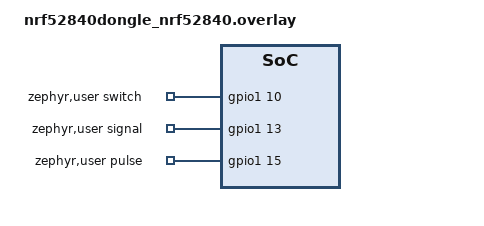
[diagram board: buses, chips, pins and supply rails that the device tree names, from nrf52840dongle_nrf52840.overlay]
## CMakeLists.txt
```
#
# Copyright (c) 2019 Nordic Semiconductor ASA
#
# SPDX-License-Identifier: LicenseRef-BSD-5-Clause-Nordic
#
cmake_minimum_required(VERSION 3.8.2)

#Board selection
#set(BOARD nrf52840dk_nrf52840)
#set(BOARD nrf5340pdk_nrf5340_cpunet)
#set(BOARD nrf5340pdk_nrf5340_cpuapp)
set(BOARD nrf52840dongle_nrf52840)
#set(BOARD nrf52840dk_nrf52811)
#Board selection outside zephyr
#set(BOARD_ROOT ./board)

#Toolchain selection
#set(TOOLCHAIN C:/gnuarmemb)

#Zephyr selection
#set(ZEPHYR_BASE L:/Github/ncs/zephyr)
#set(ZEPHYR_BASE L:/Github/ncs-workspace-1.6.1/zephyr)

find_package(Zephyr REQUIRED HINTS $ENV{ZEPHYR_BASE})
project(NONE)

# Include all files in folder src
FILE(GLOB app_sources_c src/*.c)
FILE(GLOB app_sources_cpp src/*.cpp)


target_sources(app PRIVATE
	${app_sources_c}
	${app_sources_cpp})
target_include_directories(app PRIVATE include)
```

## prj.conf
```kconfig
#
# Copyright (c) 2019 Nordic Semiconductor ASA
#
# SPDX-License-Identifier: LicenseRef-BSD-5-Clause-Nordic
#
CONFIG_NCS_SAMPLES_DEFAULTS=y

# General configuration
CONFIG_SYSTEM_WORKQUEUE_STACK_SIZE=2048
CONFIG_FLASH=y
CONFIG_FLASH_MAP=y
CONFIG_NVS=y
CONFIG_SETTINGS=y
CONFIG_HWINFO=y

# Bluetooth configuration
CONFIG_BT=y
CONFIG_BT_COMPANY_ID=0x0059
CONFIG_BT_DEVICE_NAME="Lampe Schlafzimmer"
CONFIG_BT_L2CAP_TX_MTU=69
CONFIG_BT_L2CAP_TX_BUF_COUNT=8
CONFIG_BT_OBSERVER=y
CONFIG_BT_PERIPHERAL=y
CONFIG_BT_SETTINGS=y
CONFIG_BT_TINYCRYPT_ECC=y
CONFIG_BT_MAX_CONN=3
CONFIG_BT_SMP=y

# Disable unused Bluetooth features
CONFIG_BT_CTLR_DUP_FILTER_LEN=0
CONFIG_BT_CTLR_LE_ENC=n
CONFIG_BT_DATA_LEN_UPDATE=n
CONFIG_BT_PHY_UPDATE=n
CONFIG_BT_CTLR_CHAN_SEL_2=n
CONFIG_BT_CTLR_MIN_USED_CHAN=n
CONFIG_BT_CTLR_PRIVACY=n

# Bluetooth Mesh configuration standrad node configuration
CONFIG_BT_MESH=y
CONFIG_BT_MESH_ADV_BUF_COUNT=13
CONFIG_BT_MESH_TX_SEG_MAX=10
CONFIG_BT_MESH_PB_GATT=y
# Bluetooth Mesh Node Features Normal
CONFIG_BT_MESH_RELAY=y
CONFIG_BT_MESH_FRIEND=y
CONFIG_BT_MESH_FRIEND_LPN_COUNT=10
CONFIG_BT_MESH_GATT_PROXY=y
# Bluetooth Mesh Node Features LPN
#CONFIG_BT_MESH_RELAY=n
#CONFIG_BT_MESH_FRIEND=n
#CONFIG_BT_MESH_LOW_POWER=y
#CONFIG_BT_MESH_LPN_AUTO=y
#CONFIG_BT_MESH_LPN_AUTO_TIMEOUT=5
#600 = 60s
#CONFIG_BT_MESH_LPN_POLL_TIMEOUT=100
#CONFIG_BT_MESH_GATT_PROXY=n
# Power Managment Device -> Needed for LPN
#CONFIG_PM=y
#CONFIG_PM_DEVICE=y
#CONFIG_PM_DEVICE_RUNTIME=y
#CONFIG_PM_CPU_OPS=y
#CONFIG_SERIAL=n

# Bluetooth Mesh models
CONFIG_BT_MESH_ONOFF_SRV=y
CONFIG_BT_MESH_ONOFF_CLI=y

# GPIO
CONFIG_GPIO=y

#For Reset
CONFIG_REBOOT=y

#For nRF52 Dongle (enable if flashed over USB / Disable if FLashed over SWD)
CONFIG_BOARD_HAS_NRF5_BOOTLOADER=y

#For Long Range Bluetooth Mesh
CONFIG_BT_CTLR_TX_PWR_PLUS_8=y
CONFIG_BT_MESH_ADV_EXT=y
```

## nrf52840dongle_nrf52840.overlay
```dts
#include <dt-bindings/gpio/gpio.h>

/ {
     zephyr,user {
          handle = <&gpio0>;
          handles = <&gpio0>, <&gpio1>;
          switch-gpios = <&gpio1 10 GPIO_ACTIVE_HIGH>;
          signal-gpios = <&gpio1 13 GPIO_ACTIVE_HIGH>;
          pulse-gpios = <&gpio1 15 GPIO_ACTIVE_HIGH>;
     };
};

&spi1 {
     status = "disabled";
};
```

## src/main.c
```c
#include <zephyr.h>
#include <sys/reboot.h>
#include <sys/util.h>
#include <device.h>
#include <drivers/gpio.h>
#include <drivers/pwm.h>
#include <drivers/hwinfo.h>

#include <bluetooth/bluetooth.h>
#include <bluetooth/mesh.h>
#include <bluetooth/mesh/models.h>
#include <bluetooth/mesh/model_types.h>

/* ---------- Led ------------------- */
static struct gpio_dt_spec led = GPIO_DT_SPEC_GET_OR(DT_ALIAS(led0), gpios,{0});

/* ---------- Reset Button ------------------- */
static const struct gpio_dt_spec button = GPIO_DT_SPEC_GET_OR(DT_ALIAS(sw0), gpios, {0});
static struct gpio_callback button_cb_data;
static struct k_work_delayable buttons_debounce;

static void reset()
{
  printk("Reboot now!\n");
  sys_reboot(SYS_REBOOT_COLD);
}

static void buttons_debounce_fn(struct k_work *work)
{
  if (gpio_pin_get_dt(&button) == true)
  {
    reset();
  }
}

void button_pressed(const struct device *dev, struct gpio_callback *cb,
                    uint32_t pins)
{
  printk("Button pressed at %" PRIu32 "\n", k_cycle_get_32());
  k_work_reschedule(&buttons_debounce, K_MSEC(5 * 1000)); // Debounce the Button
}

/** Generic OnOff client definition */
static void status_handler_onoff_cli(struct bt_mesh_onoff_cli *cli,
									 struct bt_mesh_msg_ctx *ctx,
									 const struct bt_mesh_onoff_status *status)
{
}

static struct bt_mesh_onoff_cli on_off_cli = BT_MESH_ONOFF_CLI_INIT(&status_handler_onoff_cli);


/* ---------- GPIO User ------------------- */
static const struct gpio_dt_spec gpio_switch = GPIO_DT_SPEC_GET(DT_PATH(zephyr_user), switch_gpios);
static const struct gpio_dt_spec gpio_signal = GPIO_DT_SPEC_GET(DT_PATH(zephyr_user), signal_gpios);
static const struct gpio_dt_spec gpio_pulse = GPIO_DT_SPEC_GET(DT_PATH(zephyr_user), pulse_gpios);
static struct gpio_callback pulse_cb_data;
static struct k_work_delayable pulse_debounce;

static void pulse_debounce_fn(struct k_work *work)
{
  struct bt_mesh_onoff_set set = {
			.on_off = (bool)(gpio_pin_get_dt(&gpio_signal)),
		};
		bt_mesh_onoff_cli_set(&on_off_cli, NULL, &set, NULL);
}

void pulse_cb(const struct device *dev, struct gpio_callback *cb,
                    uint32_t pins)
{
  printk("Button pressed at %" PRIu32 "\n", k_cycle_get_32());
  k_work_reschedule(&pulse_debounce, K_MSEC(100)); // Debounce the Button
}


/* ------------ Bluetooth Mesh -------------- */
/* Provisioning */
static int output_number(bt_mesh_output_action_t action, uint32_t number)
{
  printk("OOB Number: %u\n", number);
  return 0;
}

static void prov_complete(uint16_t net_idx, uint16_t addr)
{
  printk("Prov complete! Addr: 0x%04x\n", addr);
}

static void prov_reset(void)
{
  printk("Prov reset!\n");
  bt_mesh_prov_enable(BT_MESH_PROV_ADV | BT_MESH_PROV_GATT);
}

static uint8_t dev_uuid[16];

static const struct bt_mesh_prov prov = {
    .uuid = dev_uuid,
    .output_size = 4,
    .output_actions = BT_MESH_DISPLAY_NUMBER,
    .output_number = output_number,
    .complete = prov_complete,
    .reset = prov_reset,
};

/* ON/OFF Server definition */
static void switch_set(struct bt_mesh_onoff_srv *srv, struct bt_mesh_msg_ctx *ctx, const struct bt_mesh_onoff_set *set, struct bt_mesh_onoff_status *rsp)
{
  gpio_pin_set_dt(&gpio_switch, set->on_off);
}
static void switch_get(struct bt_mesh_onoff_srv *srv, struct bt_mesh_msg_ctx *ctx, struct bt_mesh_onoff_status *rsp){
  rsp->present_on_off = gpio_pin_get_dt(&gpio_switch);
}

static const struct bt_mesh_onoff_srv_handlers onoff_handlers = {
    .set = switch_set,
    .get = switch_get,
};

static struct bt_mesh_onoff_srv on_off_srv = BT_MESH_ONOFF_SRV_INIT(&onoff_handlers);

/* Health Server definition */
static void attention_on(struct bt_mesh_model *model)
{
  printk("attention_on!\n");
}
static void attention_off(struct bt_mesh_model *model)
{
  printk("attention_off!\n");
}
static const struct bt_mesh_health_srv_cb health_srv_cb = {
    .attn_on = attention_on,
    .attn_off = attention_off,
};
static struct bt_mesh_health_srv health_srv = {
    .cb = &health_srv_cb,
};
BT_MESH_HEALTH_PUB_DEFINE(health_pub, 0);

/* Define all Elements */
static struct bt_mesh_elem elements[] = {
    BT_MESH_ELEM(
        1, BT_MESH_MODEL_LIST(BT_MESH_MODEL_CFG_SRV, BT_MESH_MODEL_HEALTH_SRV(&health_srv, &health_pub), BT_MESH_MODEL_ONOFF_CLI(&on_off_cli) , BT_MESH_MODEL_ONOFF_SRV(&on_off_srv)),BT_MESH_MODEL_NONE)
    };

/* Create Composition */
static const struct bt_mesh_comp comp = {
    .cid = CONFIG_BT_COMPANY_ID,
    .elem = elements,
    .elem_count = ARRAY_SIZE(elements),
};

/* Bluetooth */
static void bt_ready(int err)
{
  if (err)
  {
    printk("Bluetooth init failed (err %d)\n", err);
    return;
  }

  printk("Bluetooth initialized\n");

  err = bt_mesh_init(&prov, &comp);
  if (err)
  {
    printk("Initializing mesh failed (err %d)\n", err);
    return;
  }

  if (IS_ENABLED(CONFIG_SETTINGS))
  {
    settings_load();
  }

  /* --------------- Reset Mesh ------------*/
	if(gpio_pin_get_dt(&button)){
		printk("Reset Mesh!\n");
		bt_mesh_reset();
	}

  /* This will be a no-op if settings_load() loaded provisioning info */
  bt_mesh_prov_enable(BT_MESH_PROV_ADV | BT_MESH_PROV_GATT);

  printk("Mesh initialized\n");
}


/**@brief Function for setup
 */
void setup(void)
{
  //Init Led
  gpio_pin_configure_dt(&led, GPIO_OUTPUT_INACTIVE);
  //Init Reset Button
  gpio_pin_configure_dt(&button, GPIO_INPUT);
  gpio_pin_interrupt_configure_dt(&button, GPIO_INT_EDGE_TO_ACTIVE);
  gpio_init_callback(&button_cb_data, button_pressed, BIT(button.pin));
  gpio_add_callback(button.port, &button_cb_data);
  k_work_init_delayable(&buttons_debounce, buttons_debounce_fn);
  //Init GPIO
  gpio_pin_configure_dt(&gpio_switch, GPIO_OUTPUT_INACTIVE);
  gpio_pin_configure_dt(&gpio_signal, GPIO_INPUT);
  gpio_pin_configure_dt(&gpio_pulse, GPIO_INPUT);
  gpio_pin_interrupt_configure_dt(&gpio_pulse, GPIO_INT_EDGE_TO_ACTIVE);
  gpio_init_callback(&pulse_cb_data, pulse_cb, BIT(gpio_pulse.pin));
  gpio_add_callback(gpio_pulse.port, &pulse_cb_data);
  k_work_init_delayable(&pulse_debounce, pulse_debounce_fn);
  //Init Bluetooth Mesh
  static int err;
  if (IS_ENABLED(CONFIG_HWINFO)) {
		err = hwinfo_get_device_id(dev_uuid, sizeof(dev_uuid));
	}
	if (err < 0) {
		dev_uuid[0] = 0xdd;
		dev_uuid[1] = 0xdd;
	}
  //Init Bluetooth
	bt_enable(bt_ready);
}

/**@brief Function for application main entry.
 */
void main(void)
{
  //Init
  printk("Init...\n");
  setup();
  // Start Application
  printk("Starting Application...\n");
}
```
